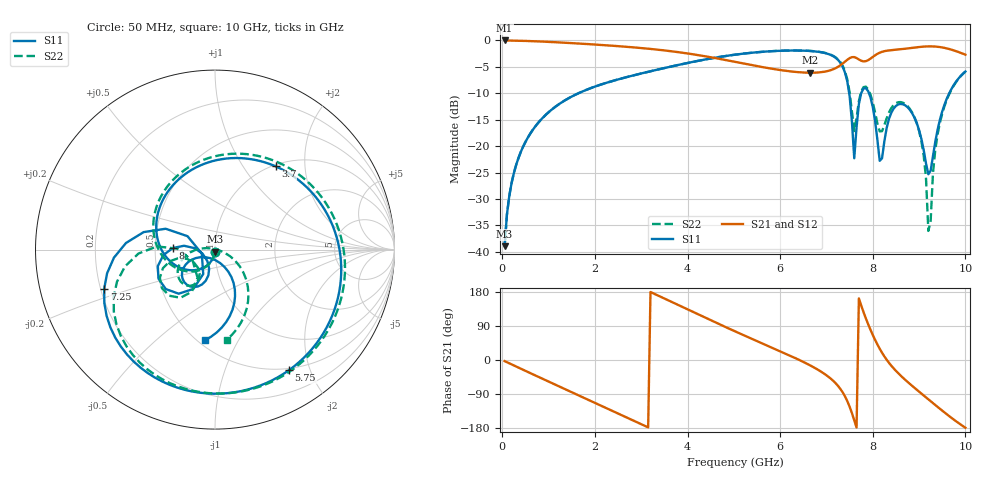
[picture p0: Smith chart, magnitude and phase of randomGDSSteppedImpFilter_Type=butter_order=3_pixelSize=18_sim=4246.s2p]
! freq	dB(S11)	phase(S11)	dB(S12)	phase(S12)
!  dB(S21)	phase(S21)	dB(S22)	phase(S22)
!S-par simulation data
#  GHz  S  DB  R 50
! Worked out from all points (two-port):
!   200 points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, 50 MHz to 10 GHz, reference 50 ohm
!   highest |S21| = 0.00 dB at 50 MHz (marker M1); lowest = -6.1 dB at 6.65 GHz (marker M2)
!   |S21| within 3 dB of the highest: start of sweep to 4.386 GHz; 8.019 GHz to end of sweep
!   lowest |S11| = -38.9 dB at 50 MHz (marker M3), VSWR 1.02, Z = 49.9 - j1.13 ohm
!   |S11| at or under -10 dB: start of sweep to 1.642 GHz; 7.491 GHz to 7.749 GHz (258.1 MHz wide, 3.39 % of centre); 7.918 GHz to 9.65 GHz (1.733 GHz wide, 19.7 % of centre)
!   |S22| runs from -38.9 to -1.9 dB; largest |S21 - S12| = 0
!   S11 on the Smith chart (normalised r, x): 50 MHz: 1.00, -0.02; 3.7 GHz: 1.03, +1.42; 5.75 GHz: 0.48, -1.69; 7.25 GHz: 0.21, -0.16; 8 GHz: 0.62, +0.01; 10 GHz: 0.54, -0.74
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0.05  -38.91 -92.2  -0.00 -2.9  -0.00 -2.9  -38.91 -92.1
0.5  -19.20 -120.0  -0.09 -28.7  -0.09 -28.7  -19.20 -118.2
1.75  -9.58 166.9  -0.64 -99.0  -0.64 -99.0  -9.58 173.5
3.4  -5.42 71.3  -1.79 167.9  -1.79 167.9  -5.42 82.9
3.7  -4.83 54.0  -2.10 150.7  -2.10 150.7  -4.83 65.8
5.05  -2.66 -21.4  -4.09 74.3  -4.09 74.3  -2.66 -10.5
5.75  -2.07 -58.4  -5.25 36.5  -5.25 36.5  -2.06 -48.3
6.65  -2.00 -108.5  -6.11 -14.3  -6.11 -14.3  -1.98 -98.8
6.7  -2.03 -111.8  -6.10 -17.6  -6.10 -17.6  -2.01 -101.9
7.25  -3.68 -160.6  -4.99 -68.4  -4.99 -68.4  -3.59 -148.4
7.45  -7.76 166.2  -3.66 -108.5  -3.66 -108.5  -7.40 -177.1
7.6  -22.28 -163.3  -3.15 -158.8  -3.15 -158.8  -17.13 -153.2
7.65  -16.41 -115.7  -3.33 -178.2  -3.33 -178.2  -14.68 -121.8
7.8  -9.09 -141.2  -3.96 126.5  -3.96 126.5  -8.83 -134.7
8  -12.58 177.9  -3.12 66.1  -3.12 66.1  -11.72 -165.6
8.15  -22.77 -161.6  -2.32 29.6  -2.32 29.6  -17.21 -148.5
8.35  -14.83 -106.6  -1.89 -7.5  -1.89 -7.5  -13.62 -118.9
8.95  -15.65 -155.0  -1.29 -78.5  -1.29 -78.5  -15.67 -168.8
9.1  -20.76 -152.5  -1.17 -93.7  -1.17 -93.7  -21.81 176.2
9.2  -25.31 -118.3  -1.12 -103.8  -1.12 -103.8  -36.03 158.1
9.45  -15.00 -59.1  -1.25 -128.8  -1.25 -128.8  -15.56 -34.1
10  -5.88 -96.4  -2.69 -178.8  -2.69 -178.8  -5.90 -82.7
